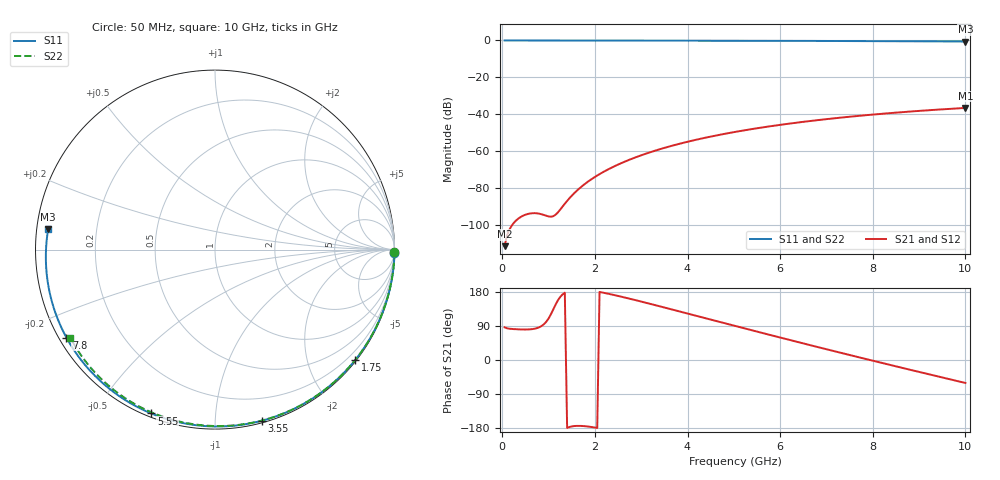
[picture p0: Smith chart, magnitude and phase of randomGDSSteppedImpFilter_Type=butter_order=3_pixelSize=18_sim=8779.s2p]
! freq	dB(S11)	phase(S11)	dB(S12)	phase(S12)
!  dB(S21)	phase(S21)	dB(S22)	phase(S22)
!S-par simulation data
#  GHz  S  DB  R 50
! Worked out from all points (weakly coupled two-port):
!   200 points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, 50 MHz to 10 GHz, reference 50 ohm
!   highest |S21| = -36.51 dB at 10 GHz (marker M1); lowest = -111.3 dB at 50 MHz (marker M2)
!   lowest |S11| = -0.6 dB at 10 GHz (marker M3), VSWR 30.48, Z = 1.65 + j3.04 ohm
!   |S11| at or under -10 dB: nowhere
!   |S22| runs from -0.5 to 0.0 dB; largest |S21 - S12| = 0
!   S11 on the Smith chart (normalised r, x): 50 MHz: open; 1.75 GHz: 0.03, -2.90; 3.55 GHz: 0.02, -1.31; 5.55 GHz: 0.02, -0.68; 7.8 GHz: 0.02, -0.27; 10 GHz: 0.03, +0.06
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0.05  -0.00 -1.1  -111.31 86.2  -111.31 86.2  -0.00 -0.9
0.4  -0.01 -8.9  -95.47 80.6  -95.47 80.6  -0.01 -6.9
0.8  -0.02 -17.7  -93.74 86.5  -93.74 86.5  -0.02 -13.7
1.2  -0.03 -26.3  -93.04 157.3  -93.04 157.3  -0.03 -20.5
1.65  -0.05 -36.0  -80.37 -173.8  -80.37 -173.8  -0.04 -28.0
1.75  -0.05 -38.1  -78.28 -174.3  -78.28 -174.3  -0.04 -29.7
2.05  -0.06 -44.4  -73.07 -179.3  -73.07 -179.3  -0.04 -34.7
2.25  -0.06 -48.6  -70.22 175.9  -70.22 175.9  -0.05 -38.0
2.45  -0.07 -52.7  -67.73 170.5  -67.73 170.5  -0.05 -41.2
2.9  -0.08 -61.8  -63.04 157.3  -63.04 157.3  -0.06 -48.5
3.4  -0.09 -71.7  -58.86 141.7  -58.86 141.7  -0.08 -56.4
3.55  -0.10 -74.6  -57.76 137.0  -57.76 137.0  -0.08 -58.7
4.3  -0.12 -88.8  -53.08 113.1  -53.08 113.1  -0.10 -70.3
5.05  -0.16 -102.4  -49.38 89.2  -49.38 89.2  -0.13 -81.4
5.55  -0.18 -111.3  -47.31 73.4  -47.31 73.4  -0.15 -88.6
6.1  -0.21 -120.8  -45.32 56.1  -45.32 56.1  -0.17 -96.4
6.7  -0.25 -130.9  -43.42 37.6  -43.42 37.6  -0.20 -104.7
7.25  -0.29 -140.2  -41.90 20.7  -41.90 20.7  -0.24 -112.2
7.8  -0.34 -149.3  -40.55 4.1  -40.55 4.1  -0.28 -119.6
8.35  -0.39 -158.5  -39.35 -12.3  -39.35 -12.3  -0.33 -126.8
9.2  -0.48 -172.9  -37.76 -37.3  -37.76 -37.3  -0.41 -138.0
10  -0.57 173.0  -36.51 -60.6  -36.51 -60.6  -0.50 -148.6
